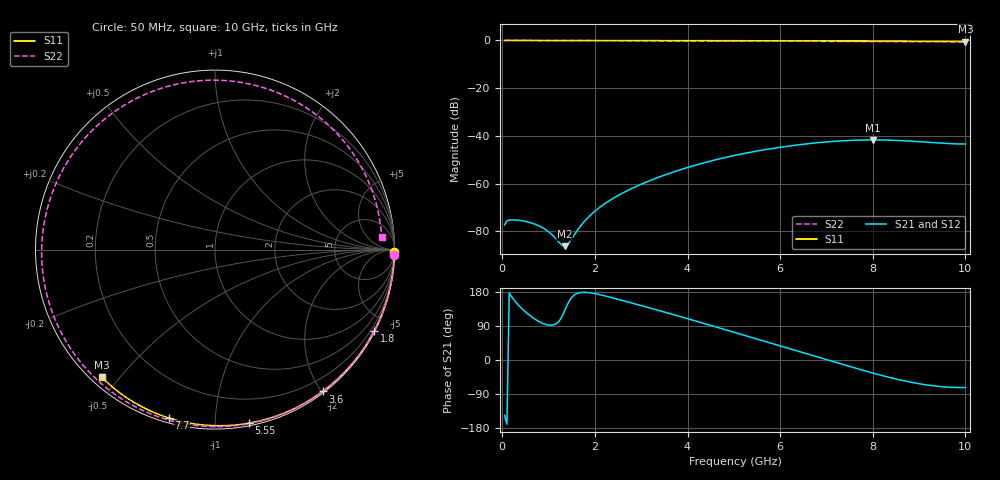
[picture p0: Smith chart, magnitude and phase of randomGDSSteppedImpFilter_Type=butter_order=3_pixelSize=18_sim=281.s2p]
! freq	dB(S11)	phase(S11)	dB(S12)	phase(S12)
!  dB(S21)	phase(S21)	dB(S22)	phase(S22)
!S-par simulation data
#  GHz  S  DB  R 50
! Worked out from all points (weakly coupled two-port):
!   200 points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, 50 MHz to 10 GHz, reference 50 ohm
!   highest |S21| = -41.69 dB at 8 GHz (marker M1); lowest = -86.2 dB at 1.35 GHz (marker M2)
!   lowest |S11| = -0.4 dB at 10 GHz (marker M3), VSWR 38.99, Z = 1.54 - j22.4 ohm
!   |S11| at or under -10 dB: nowhere
!   |S22| runs from -0.6 to 0.0 dB; largest |S21 - S12| = 0
!   S11 on the Smith chart (normalised r, x): 50 MHz: open; 1.8 GHz: 0.04, -4.16; 3.6 GHz: 0.02, -2.01; 5.55 GHz: 0.02, -1.22; 7.7 GHz: 0.02, -0.76; 10 GHz: 0.03, -0.45
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0.05  -0.00 -0.8  -77.29 -145.8  -77.29 -145.8  -0.00 -1.6
0.15  -0.00 -2.3  -75.31 177.2  -75.31 177.2  -0.00 -4.8
0.35  -0.01 -5.3  -75.39 144.7  -75.39 144.7  -0.01 -11.1
1  -0.02 -15.1  -80.20 92.3  -80.20 92.3  -0.04 -31.4
1.35  -0.03 -20.4  -86.24 130.7  -86.24 130.7  -0.05 -42.2
1.6  -0.03 -24.1  -80.19 174.8  -80.19 174.8  -0.06 -49.8
1.75  -0.03 -26.3  -76.37 178.6  -76.37 178.6  -0.07 -54.4
1.8  -0.03 -27.0  -75.27 178.5  -75.27 178.5  -0.07 -55.9
2.45  -0.05 -36.5  -65.56 161.9  -65.56 161.9  -0.10 -75.4
3.4  -0.07 -50.0  -57.15 130.0  -57.15 130.0  -0.14 -103.5
3.6  -0.07 -52.8  -55.76 123.1  -55.76 123.1  -0.15 -109.4
4.3  -0.09 -62.4  -51.57 98.5  -51.57 98.5  -0.19 -130.1
5.05  -0.11 -72.4  -48.05 71.4  -48.05 71.4  -0.24 -153.0
5.55  -0.13 -78.9  -46.18 53.2  -46.18 53.2  -0.28 -169.0
6.15  -0.15 -86.5  -44.37 31.5  -44.37 31.5  -0.33 170.6
6.7  -0.18 -93.3  -43.08 11.6  -43.08 11.6  -0.38 150.5
7.7  -0.24 -105.3  -41.78 -24.2  -41.78 -24.2  -0.47 109.6
8  -0.26 -108.8  -41.69 -34.5  -41.69 -34.5  -0.49 96.2
8.35  -0.29 -112.9  -41.79 -45.6  -41.79 -45.6  -0.51 80.2
8.8  -0.33 -118.1  -42.18 -58.0  -42.18 -58.0  -0.54 59.1
9.25  -0.37 -123.2  -42.77 -67.2  -42.77 -67.2  -0.56 38.0
10  -0.45 -131.7  -43.40 -72.7  -43.40 -72.7  -0.62 4.2
